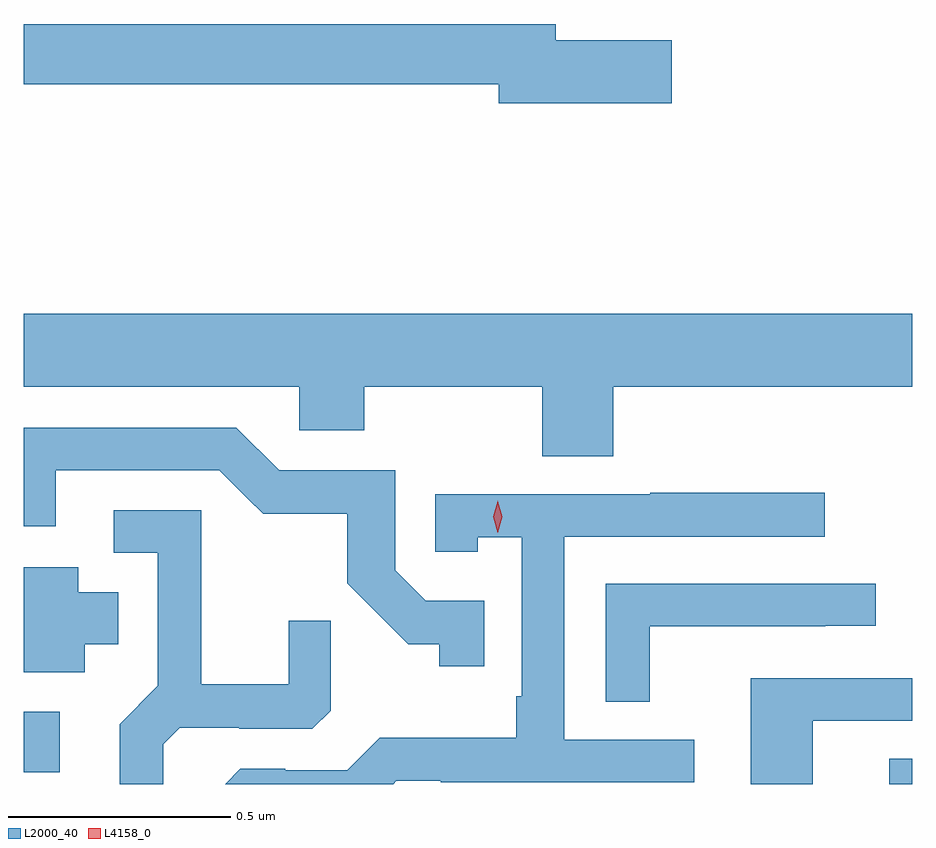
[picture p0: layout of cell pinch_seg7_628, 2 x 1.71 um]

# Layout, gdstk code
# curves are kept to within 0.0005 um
import gdstk
lib = gdstk.Library(unit=1e-6, precision=1e-09)
def R(c, l, rs):  # rectangles x0, y0, x1, y1
    for r in rs: c.add(gdstk.rectangle(r[:2], r[2:], *l))
def P(c, l, *ps):  # polygons
    for p in ps: c.add(gdstk.Polygon(p, *l))
L2000_40 = (2000, 40)
L4158_0 = (4158, 0)

pinch_seg7_628 = lib.new_cell('pinch_seg7_628')
R(pinch_seg7_628, L2000_40, [(199.967,1026.362,200.019,1026.419), (198.019,1026.389,198.1,1026.525)])
P(pinch_seg7_628, L2000_40, [(199.477,1028.036),(199.216,1028.036),(199.216,1028.072),(198.019,1028.072),(198.019,1027.936),(199.088,1027.936),(199.088,1027.894),(199.477,1027.894)],
  [(199.346,1027.256),(200.019,1027.256),(200.019,1027.42),(198.019,1027.42),(198.019,1027.256),(198.639,1027.256),(198.639,1027.158),(198.786,1027.158),(198.786,1027.256),(199.186,1027.256),(199.186,1027.099),(199.346,1027.099)],
  [(199.055,1026.774),(198.924,1026.774),(198.855,1026.843),(198.855,1027.068),(198.594,1027.068),(198.498,1027.164),(198.019,1027.164),(198.019,1026.942),(198.091,1026.942),(198.091,1027.068),(198.459,1027.068),(198.558,1026.97),(198.747,1026.97),(198.747,1026.814),(198.884,1026.677),(198.954,1026.677),(198.954,1026.627),(199.055,1026.627)],
  [(198.858,1026.369),(198.958,1026.369),(198.958,1026.366),(199.528,1026.366),(199.528,1026.462),(199.236,1026.462),(199.236,1026.918),(199.822,1026.918),(199.822,1027.017),(199.429,1027.017),(199.429,1027.014),(198.945,1027.014),(198.945,1026.885),(199.041,1026.885),(199.041,1026.917),(199.14,1026.917),(199.14,1026.559),(199.128,1026.559),(199.128,1026.466),(198.82,1026.466),(198.747,1026.393),(198.608,1026.393),(198.608,1026.396),(198.507,1026.396),(198.473,1026.362),(198.851,1026.362)],
  [(198.333,1026.452),(198.37,1026.489),(198.504,1026.489),(198.504,1026.486),(198.669,1026.486),(198.71,1026.527),(198.71,1026.729),(198.616,1026.729),(198.616,1026.586),(198.419,1026.586),(198.419,1026.978),(198.222,1026.978),(198.222,1026.882),(198.321,1026.882),(198.321,1026.583),(198.235,1026.497),(198.235,1026.362),(198.333,1026.362)],
  [(198.157,1026.677),(198.232,1026.677),(198.232,1026.793),(198.142,1026.793),(198.142,1026.85),(198.019,1026.85),(198.019,1026.614),(198.157,1026.614)],
  [(199.428,1026.717),(199.823,1026.717),(199.823,1026.718),(199.936,1026.718),(199.936,1026.813),(199.329,1026.813),(199.329,1026.547),(199.428,1026.547)],
  [(199.795,1026.504),(200.019,1026.504),(200.019,1026.6),(199.655,1026.6),(199.655,1026.362),(199.795,1026.362)])
P(pinch_seg7_628, L4158_0, [(199.086,1026.927),(199.086,1026.927),(199.076,1026.963),(199.086,1026.998),(199.086,1026.999),(199.086,1026.998),(199.096,1026.963),(199.086,1026.927)])

lib.write_gds('pinch_seg7_628.gds')
